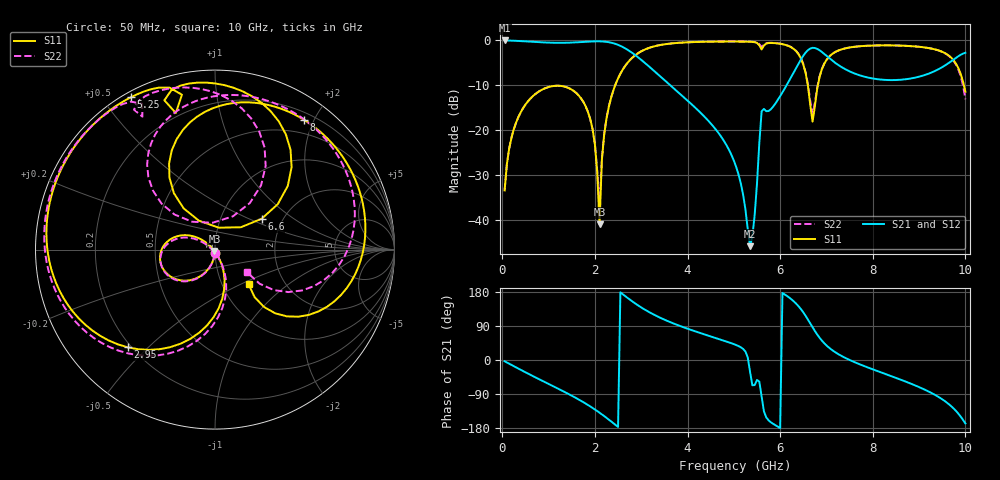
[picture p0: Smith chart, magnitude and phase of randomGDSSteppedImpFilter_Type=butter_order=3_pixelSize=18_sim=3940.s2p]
! freq	dB(S11)	phase(S11)	dB(S12)	phase(S12)
!  dB(S21)	phase(S21)	dB(S22)	phase(S22)
!S-par simulation data
#  GHz  S  DB  R 50
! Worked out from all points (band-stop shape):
!   200 points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, 50 MHz to 10 GHz, reference 50 ohm
!   highest |S21| = -0.01 dB at 50 MHz (marker M1); lowest = -45.9 dB at 5.35 GHz (marker M2)
!   |S21| within 3 dB of the highest: start of sweep to 2.836 GHz; 6.529 GHz to 6.951 GHz (421.7 MHz wide, 6.26 % of centre) (the widest 2 of 3)
!   lowest |S11| = -41.0 dB at 2.1 GHz (marker M3), VSWR 1.02, Z = 49.7 - j0.816 ohm
!   |S11| at or under -10 dB: start of sweep to 2.439 GHz; 6.597 GHz to 6.815 GHz (217.7 MHz wide, 3.25 % of centre); 9.96714 GHz to end of sweep
!   |S22| runs from -37.6 to -0.2 dB; largest |S21 - S12| = 0
!   S11 on the Smith chart (normalised r, x): 50 MHz: 1.00, -0.04; 2.95 GHz: 0.19, -0.44; 5.25 GHz: 0.02, +0.59; 6.6 GHz: 1.56, +0.59; 8 GHz: 0.30, +1.86; 10 GHz: 1.33, -0.55
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0.05  -33.48 -93.1  -0.01 -3.3  -0.01 -3.3  -33.48 -93.0
0.2  -21.63 -103.7  -0.05 -13.2  -0.05 -13.2  -21.63 -103.3
0.6  -13.06 -129.8  -0.27 -38.7  -0.27 -38.7  -13.06 -128.6
1.75  -13.73 157.5  -0.34 -111.3  -0.34 -111.3  -13.73 161.7
2  -23.21 141.6  -0.21 -130.5  -0.21 -130.5  -23.17 149.1
2.1  -41.03 -112.3  -0.21 -139.0  -0.21 -139.0  -37.58 -116.7
2.15  -26.70 -65.0  -0.23 -143.4  -0.23 -143.4  -26.46 -67.1
2.3  -14.83 -72.8  -0.40 -157.3  -0.40 -157.3  -14.80 -70.3
2.95  -2.74 -131.7  -3.92 142.6  -3.92 142.6  -2.73 -126.4
3.4  -1.05 -162.4  -7.93 112.1  -7.93 112.1  -1.04 -155.9
5.05  -0.25 127.0  -28.23 39.5  -28.23 39.5  -0.24 138.3
5.25  -0.27 118.8  -37.72 22.4  -37.72 22.4  -0.25 131.0
5.35  -0.30 114.3  -45.93 -31.3  -45.93 -31.3  -0.28 127.0
5.6  -2.03 106.0  -15.81 -97.0  -15.81 -97.0  -1.48 118.6
6.15  -1.12 76.4  -9.80 168.8  -9.80 168.8  -1.10 91.3
6.6  -10.15 33.5  -2.17 106.7  -2.17 106.7  -9.80 53.2
6.7  -18.14 80.2  -1.66 86.3  -1.66 86.3  -16.47 95.3
7  -4.37 113.4  -3.44 38.5  -3.44 38.5  -4.35 128.6
8  -1.14 55.6  -8.50 -24.7  -8.50 -24.7  -1.14 75.2
8.35  -1.10 40.0  -8.85 -40.4  -8.85 -40.4  -1.11 60.5
9.4  -2.16 -13.1  -6.53 -96.0  -6.53 -96.0  -2.17 7.8
10  -11.43 -45.8  -2.77 -167.5  -2.77 -167.5  -13.14 -35.3
